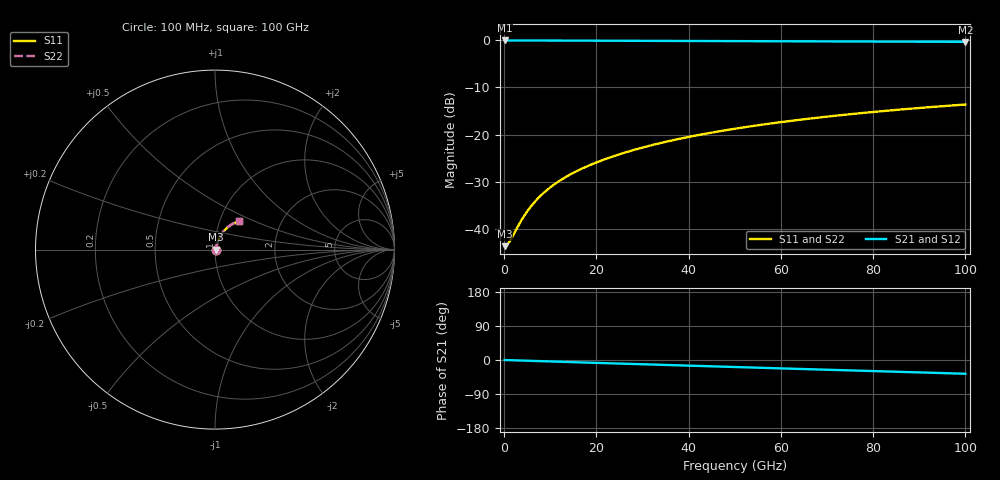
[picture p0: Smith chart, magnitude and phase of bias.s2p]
#  Hz  S  RI  R  50
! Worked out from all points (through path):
!   1000 points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, 100 MHz to 100 GHz, reference 50 ohm
!   highest |S21| = -0.06 dB at 100 MHz (marker M1); lowest = -0.4 dB at 100 GHz (marker M2)
!   group delay of S21, straight-line fit = 1 ps
!   lowest |S11| = -43.6 dB at 100 MHz (marker M3), VSWR 1.01, Z = 50.7 + j0.0275 ohm
!   |S11| at or under -10 dB: start of sweep to end of sweep
!   |S22| runs from -43.7 to -13.6 dB; largest |S21 - S12| = 0.00018
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1e8  0.00658 0.000271  0.9934 -0.00069  0.9934 -0.000689  0.00654 0.000272
6e8  0.00659 0.00163  0.9934 -0.00414  0.9934 -0.00414  0.00656 0.00163
1.2e9  0.00664 0.00325  0.9933 -0.00827  0.9933 -0.00827  0.00661 0.00326
1.7e9  0.00671 0.0046  0.9933 -0.0117  0.9933 -0.0117  0.00668 0.00462
3.6e9  0.00715 0.00967  0.9927 -0.0247  0.9927 -0.0247  0.00712 0.00971
5e9  0.00765 0.0133  0.9921 -0.0342  0.9921 -0.0342  0.00763 0.0134
6.2e9  0.00818 0.0164  0.9915 -0.0423  0.9915 -0.0423  0.00817 0.0164
7.6e9  0.00889 0.0199  0.9906 -0.0516  0.9906 -0.0516  0.00888 0.0199
9.5e9  0.00997 0.0245  0.9892 -0.064  0.9892 -0.064  0.00996 0.0245
1.16e10  0.0113 0.0293  0.9875 -0.0776  0.9875 -0.0776  0.0113 0.0294
1.4e10  0.0129 0.0347  0.9854 -0.093  0.9854 -0.093  0.0129 0.0348
1.68e10  0.0148 0.0409  0.9827 -0.1107  0.9827 -0.1107  0.0148 0.041
2.03e10  0.0175 0.0483  0.979 -0.1327  0.979 -0.1327  0.0174 0.0485
2.42e10  0.0207 0.0564  0.9742 -0.157  0.9742 -0.157  0.0206 0.0566
2.86e10  0.0247 0.0653  0.9681 -0.1842  0.9681 -0.1842  0.0246 0.0656
3.34e10  0.0296 0.0747  0.9605 -0.2135  0.9606 -0.2135  0.0295 0.075
4.12e10  0.0386 0.089  0.9465 -0.2601  0.9465 -0.2601  0.0384 0.0894
5.01e10  0.0502 0.1041  0.9277 -0.3119  0.9277 -0.312  0.05 0.1046
5.8e10  0.0618 0.1162  0.9086 -0.3565  0.9086 -0.3566  0.0614 0.1168
6.67e10  0.0756 0.128  0.8851 -0.404  0.8851 -0.404  0.0752 0.1288
8.34e10  0.1048 0.1462  0.8334 -0.49  0.8335 -0.4902  0.1042 0.1472
1e11  0.1362 0.1577  0.7745 -0.5681  0.7746 -0.5682  0.1354 0.1591
